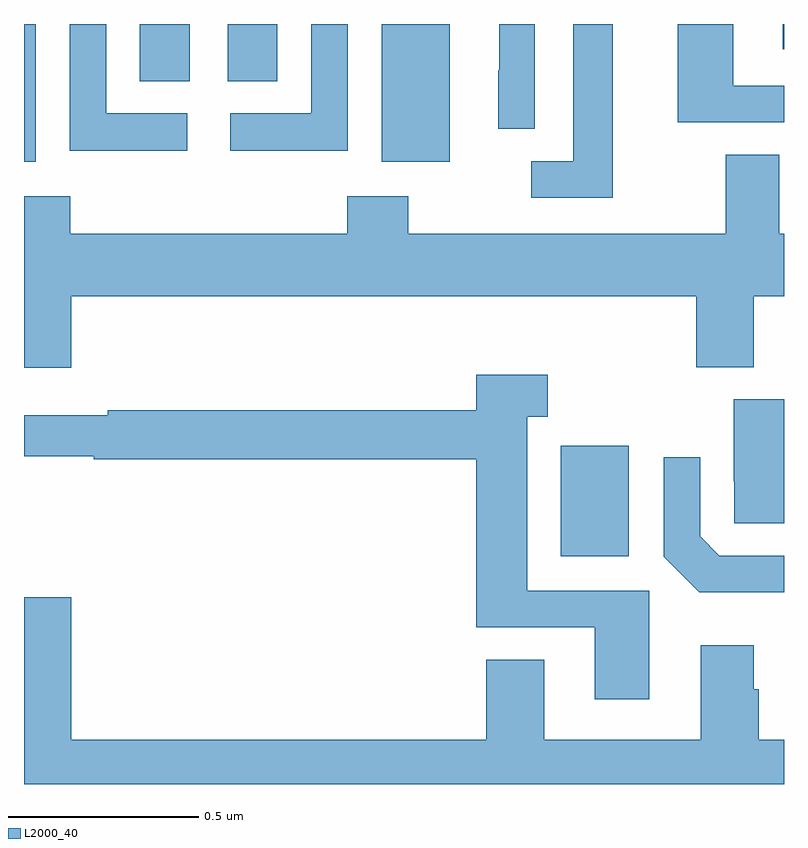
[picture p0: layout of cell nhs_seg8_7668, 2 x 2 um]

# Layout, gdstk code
import gdstk
lib = gdstk.Library(unit=1e-6, precision=1e-09)
def R(c, l, rs):  # rectangles x0, y0, x1, y1
    for r in rs: c.add(gdstk.rectangle(r[:2], r[2:], *l))
def P(c, l, *ps):  # polygons
    for p in ps: c.add(gdstk.Polygon(p, *l))
L2000_40 = (2000, 40)

nhs_seg8_7668 = lib.new_cell('nhs_seg8_7668')
R(nhs_seg8_7668, L2000_40, [(214.412,1098.5,214.591,1098.79), (213,1099.538,213.031,1099.899), (213.941,1099.538,214.12,1099.899), (213.305,1099.75,213.436,1099.9), (213.536,1099.75,213.667,1099.9), (214.997,1099.833,215,1099.9)])
P(nhs_seg8_7668, L2000_40, [(214.549,1099.9),(214.445,1099.9),(214.445,1099.539),(214.335,1099.539),(214.335,1099.443),(214.549,1099.443)],
  [(213.852,1099.9),(213.756,1099.9),(213.756,1099.665),(213.543,1099.665),(213.543,1099.567),(213.852,1099.567)],
  [(214.344,1099.9),(214.25,1099.9),(214.25,1099.778),(214.248,1099.778),(214.248,1099.624),(214.344,1099.624)],
  [(213.43,1099.665),(213.216,1099.665),(213.216,1099.9),(213.12,1099.9),(213.12,1099.567),(213.43,1099.567)],
  [(215,1099.737),(214.866,1099.737),(214.866,1099.9),(214.721,1099.9),(214.721,1099.641),(215,1099.641)],
  [(213.124,1099.184),(214.769,1099.184),(214.769,1098.997),(214.921,1098.997),(214.921,1099.184),(215,1099.184),(215,1099.348),(214.987,1099.348),(214.987,1099.556),(214.847,1099.556),(214.847,1099.348),(214.011,1099.348),(214.011,1099.447),(213.851,1099.447),(213.851,1099.348),(213.122,1099.348),(213.122,1099.447),(213,1099.447),(213,1098.996),(213.124,1098.996)],
  [(214.645,1098.408),(214.324,1098.408),(214.324,1098.867),(214.378,1098.867),(214.378,1098.977),(214.19,1098.977),(214.19,1098.883),(213.22,1098.883),(213.22,1098.87),(213,1098.87),(213,1098.762),(213.184,1098.762),(213.184,1098.754),(214.19,1098.754),(214.19,1098.312),(214.502,1098.312),(214.502,1098.123),(214.645,1098.123)],
  [(215,1098.912),(214.868,1098.912),(214.868,1098.697),(214.869,1098.697),(214.869,1098.586),(215,1098.586)],
  [(215,1098.501),(214.83,1098.501),(214.779,1098.552),(214.779,1098.76),(214.683,1098.76),(214.683,1098.498),(214.777,1098.404),(215,1098.404)],
  [(215,1098.016),(214.934,1098.016),(214.934,1098.149),(214.921,1098.149),(214.921,1098.265),(214.781,1098.265),(214.781,1098.016),(214.369,1098.016),(214.369,1098.227),(214.217,1098.227),(214.217,1098.016),(213.124,1098.016),(213.124,1098.391),(213,1098.391),(213,1097.9),(215,1097.9)])

lib.write_gds('nhs_seg8_7668.gds')
